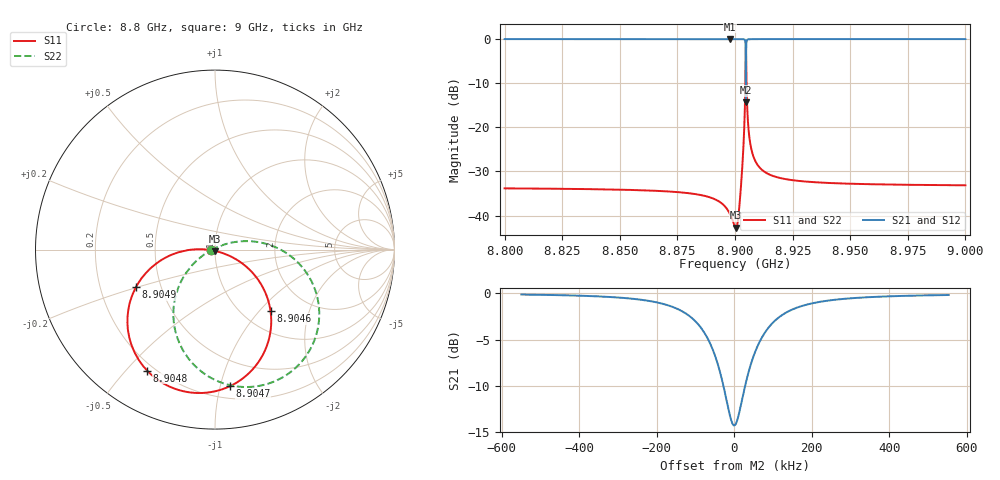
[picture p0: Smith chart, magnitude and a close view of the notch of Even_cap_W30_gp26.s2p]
! Sonnet Data File
! From: emgraph Version : 16.52
! From Project: Resonator2_cp_varyW
! Data is De-embedded
! Data File Written: 10/07/2017 09:25:24
!< HDATE 10/06/2017 17:18:21
!< MDATE 10/06/2017 17:18:21
!< PARAMS
!< gap = 26.0
!< Length = 400.0
!< Pwid1 = 2000.0
!< Pwid2 = 2000.0
!< Air_gap = 18.0
!< Width = 30.0
!< END PARAMS
# GHZ S MA R 51.80000
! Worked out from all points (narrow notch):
!   1595 points, 8.8 GHz to 9 GHz, reference 51.8 ohm
!   highest |S21| = 0.00 dB at 8.898 GHz (marker M1); lowest = -14.3 dB at 8.9047 GHz (marker M2)
!   notch at M2: 14.3 dB deep, 93.3 kHz wide at half that depth
!   lowest |S11| = -42.7 dB at 8.9004 GHz (marker M3), VSWR 1.01, Z = 51.6 - j0.735 ohm
!   |S11| at or under -10 dB: start of sweep to 8.9045 GHz; 8.905 GHz to end of sweep
!   |S22| runs from -43.0 to -1.9 dB; largest |S21 - S12| = 0
!   S11 on the Smith chart (normalised r, x): 8.8 GHz: 0.96, -0.01; 8.9046 GHz: 1.33, -1.15; 8.9047 GHz: 0.29, -1.07; 8.9048 GHz: 0.17, -0.57; 8.9049 GHz: 0.36, -0.20; 9 GHz: 0.96, -0.01
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8.8  0.02032 -169.1  0.9998 -80.6  0.9998 -80.6  0.02032 -172.2
!< P1 F=8.8 Eeff=(6.44507571 -2.9713e-5) Z0=(50.6188468 1.16784e-4) R=0.0 C=0.0
!< P2 F=8.8 Eeff=(6.44507571 -2.9713e-5) Z0=(50.6188468 1.16784e-4) R=0.0 C=0.0
8.8334  0.01998 -169.0  0.9998 -81.0  0.9998 -81.0  0.01998 -172.9
8.8668  0.01901 -168.2  0.9998 -81.3  0.9998 -81.3  0.01901 -174.4
8.888793  0.01618 -164.4  0.9999 -81.7  0.9999 -81.7  0.01618 -178.9
8.897989  0.01018 -146.1  0.9999 -82.2  0.9999 -82.2  0.01013 161.9
8.9  0.007485 -115.3  0.9999 -82.5  0.9999 -82.5  0.007337 130.5
8.9004  0.007291 -102.5  0.9999 -82.6  0.9999 -82.6  0.007108 117.2
8.9016  0.01051 -56.8  0.9998 -83.1  0.9998 -83.1  0.01026 69.2
8.903191  0.03653 -26.4  0.9986 -84.7  0.9986 -84.7  0.03624 34.7
8.904155  0.1273 -24.6  0.9867 -90.0  0.9867 -90.0  0.1268 20.1
8.904445  0.2635 -32.9  0.945 -97.9  0.945 -97.9  0.2624 8.4
8.904585  0.4605 -47.8  0.825 -109.7  0.825 -109.7  0.4588 -8.1
8.904697  0.7655 -83.8  0.3639 -123.8  0.3639 -123.8  0.7629 -45.1
8.904733  0.8086 -102.0  0.1928 -82.0  0.1928 -82.0  0.8058 -63.7
8.904766  0.7728 -119.3  0.3534 -41.2  0.3534 -41.2  0.7701 -81.3
8.904878  0.4889 -154.5  0.8095 -53.8  0.8095 -53.8  0.4873 -117.5
8.9052  0.1978 -176.2  0.9725 -71.3  0.9725 -71.3  0.1973 -141.9
8.906015  0.08665 178.6  0.9952 -77.7  0.9952 -77.7  0.08647 -152.6
8.9094  0.0389 -178.9  0.9992 -80.5  0.9992 -80.5  0.03887 -161.9
8.933338  0.02398 -173.3  0.9997 -81.6  0.9997 -81.6  0.02398 -170.0
8.9668  0.02246 -172.5  0.9997 -82.0  0.9997 -82.0  0.02246 -171.6
9  0.02202 -172.4  0.9998 -82.4  0.9998 -82.4  0.02202 -172.3
